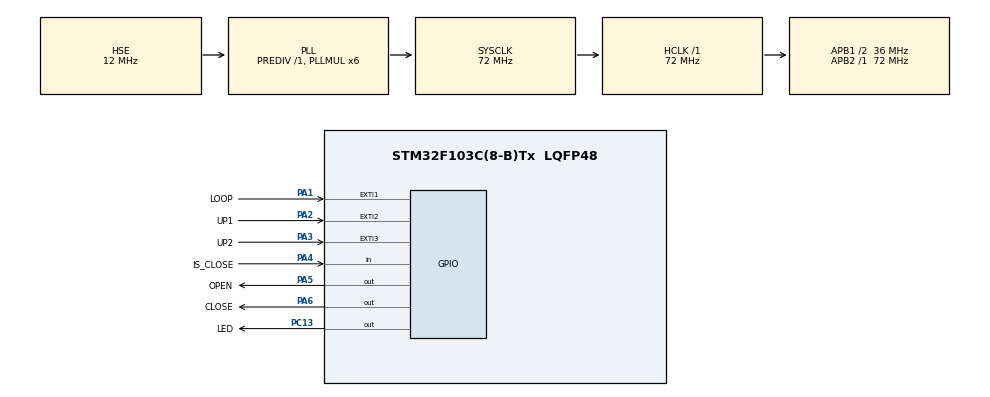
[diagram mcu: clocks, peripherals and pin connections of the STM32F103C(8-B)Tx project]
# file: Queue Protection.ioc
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Mcu.Family=STM32F1
Mcu.Name=STM32F103C(8-B)Tx
Mcu.Package=LQFP48
NVIC.EXTI1_IRQn=true\:1\:0\:true\:false\:true\:true\:true\:true
NVIC.EXTI2_IRQn=true\:1\:0\:true\:false\:true\:true\:true\:true
NVIC.EXTI3_IRQn=true\:1\:0\:true\:false\:true\:true\:true\:true
NVIC.PriorityGroup=NVIC_PRIORITYGROUP_4
PA1.GPIO_Label=LOOP
PA1.GPIO_ModeDefaultEXTI=GPIO_MODE_IT_FALLING
PA1.GPIO_PuPd=GPIO_PULLUP
PA1.Signal=GPXTI1
PA13.Mode=Serial_Wire
PA13.Signal=SYS_JTMS-SWDIO
PA14.Mode=Serial_Wire
PA14.Signal=SYS_JTCK-SWCLK
PA2.GPIO_Label=UP1
PA2.GPIO_ModeDefaultEXTI=GPIO_MODE_IT_FALLING
PA2.GPIO_PuPd=GPIO_PULLUP
PA2.Signal=GPXTI2
PA3.GPIO_Label=UP2
PA3.GPIO_ModeDefaultEXTI=GPIO_MODE_IT_FALLING
PA3.GPIO_PuPd=GPIO_PULLUP
PA3.Signal=GPXTI3
PA4.GPIO_Label=IS_CLOSE
PA4.GPIO_PuPd=GPIO_PULLUP
PA4.Signal=GPIO_Input
PA5.GPIO_Label=OPEN
PA5.GPIO_PuPd=GPIO_PULLUP
PA5.PinState=GPIO_PIN_SET
PA5.Signal=GPIO_Output
PA6.GPIO_Label=CLOSE
PA6.GPIO_PuPd=GPIO_PULLUP
PA6.PinState=GPIO_PIN_SET
PA6.Signal=GPIO_Output
PC13-TAMPER-RTC.GPIO_Label=LED
PC13-TAMPER-RTC.GPIO_PuPd=GPIO_PULLUP
PC13-TAMPER-RTC.PinState=GPIO_PIN_SET
PC13-TAMPER-RTC.Signal=GPIO_Output
PD0-OSC_IN.Mode=HSE-External-Oscillator
PD0-OSC_IN.Signal=RCC_OSC_IN
PD1-OSC_OUT.Mode=HSE-External-Oscillator
PD1-OSC_OUT.Signal=RCC_OSC_OUT
ProjectManager.HeapSize=0x200
ProjectManager.StackSize=0x400
ProjectManager.TargetToolchain=MDK-ARM V5.32
RCC.AHBFreq_Value=72000000
RCC.APB1CLKDivider=RCC_HCLK_DIV2
RCC.APB1Freq_Value=36000000
RCC.APB1TimFreq_Value=72000000
RCC.APB2Freq_Value=72000000
RCC.APB2TimFreq_Value=72000000
RCC.HCLKFreq_Value=72000000
RCC.HSE_VALUE=12000000
RCC.PLLMUL=RCC_PLL_MUL6
RCC.PLLSourceVirtual=RCC_PLLSOURCE_HSE
RCC.SYSCLKFreq_VALUE=72000000
RCC.SYSCLKSource=RCC_SYSCLKSOURCE_PLLCLK
RCC.USBFreq_Value=72000000
board=custom

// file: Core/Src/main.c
/* USER CODE BEGIN Header */
/**
  ******************************************************************************
  * @file           : main.c
  * @brief          : Main program body
  ******************************************************************************
  * @attention
  *
  * Copyright (c) 2025 STMicroelectronics.
  * All rights reserved.
  *
  * This software is licensed under terms that can be found in the LICENSE file
  * in the root directory of this software component.
  * If no LICENSE file comes with this software, it is provided AS-IS.
  *
  ******************************************************************************
  */
/* USER CODE END Header */
#include "main.h"

/* USER CODE BEGIN PD */
#define bool 	char
#define true	1
#define false	0
/* USER CODE END PD */

/* USER CODE BEGIN PV */
volatile bool interrupt_flag = false;
volatile uint16_t interrupt_pin;
/* USER CODE END PV */

void SystemClock_Config(void);
static void MX_GPIO_Init(void);
/* USER CODE BEGIN PFP */
void HAL_GPIO_EXTI_Callback(uint16_t);
/* USER CODE END PFP */

/* USER CODE BEGIN 0 */

void HAL_GPIO_EXTI_Callback(uint16_t GPIO_Pin)
{
	HAL_NVIC_DisableIRQ(EXTI1_IRQn);
	HAL_NVIC_DisableIRQ(EXTI2_IRQn);
	HAL_NVIC_DisableIRQ(EXTI3_IRQn);
	interrupt_flag = true;
	interrupt_pin = GPIO_Pin;
}
/* USER CODE END 0 */

int main(void)
{

  /* MCU Configuration--------------------------------------------------------*/

  /* Reset of all peripherals, Initializes the Flash interface and the Systick. */
  HAL_Init();

  /* Configure the system clock */
  SystemClock_Config();

  /* Initialize all configured peripherals */
  MX_GPIO_Init();

  /* Infinite loop */
  /* USER CODE BEGIN WHILE */
	volatile int32_t vehicle_count = 0;
	while (1){
    /* USER CODE END WHILE */

    /* USER CODE BEGIN 3 */
		__WFI();
		// Handle interrupt
		if (interrupt_flag)
		{
			interrupt_flag = false;
			HAL_Delay(50);
			HAL_NVIC_EnableIRQ(EXTI1_IRQn);
			HAL_NVIC_EnableIRQ(EXTI2_IRQn);
			HAL_NVIC_EnableIRQ(EXTI3_IRQn);
			if (HAL_GPIO_ReadPin(GPIOA, interrupt_pin) == GPIO_PIN_RESET)
			{
				if (interrupt_pin == LOOP_Pin)
				{
					vehicle_count--;
					if (vehicle_count < 0)
					{
						vehicle_count = 0;
						HAL_GPIO_WritePin(LED_GPIO_Port, LED_Pin, GPIO_PIN_SET);
						/* check if number of loop signal greater than number of open signal and barrier is not close then emit 1 signal open barrier.
						This handle for bicycle because bicycle have 2 signal loops
						*/
						if ( HAL_GPIO_ReadPin(IS_CLOSE_GPIO_Port, IS_CLOSE_Pin) != GPIO_PIN_RESET)
						{
							HAL_GPIO_WritePin(OPEN_GPIO_Port, OPEN_Pin, GPIO_PIN_RESET);
							HAL_Delay(300);
							HAL_GPIO_WritePin(OPEN_GPIO_Port, OPEN_Pin, GPIO_PIN_SET);
						}
					}
					else if (vehicle_count == 0)
					{
						HAL_GPIO_WritePin(LED_GPIO_Port, LED_Pin, GPIO_PIN_SET);
						HAL_GPIO_WritePin(CLOSE_GPIO_Port, CLOSE_Pin, GPIO_PIN_RESET);
						HAL_Delay(300);
						HAL_GPIO_WritePin(CLOSE_GPIO_Port, CLOSE_Pin, GPIO_PIN_SET);
					}
				}
				else if (interrupt_pin == UP1_Pin || interrupt_pin == UP2_Pin)
				{
					vehicle_count++;
					HAL_GPIO_WritePin(LED_GPIO_Port, LED_Pin, GPIO_PIN_RESET);
					HAL_GPIO_WritePin(OPEN_GPIO_Port, OPEN_Pin, GPIO_PIN_RESET);
					HAL_Delay(300);
					HAL_GPIO_WritePin(OPEN_GPIO_Port, OPEN_Pin, GPIO_PIN_SET);
				}
			}
		}
	}
  /* USER CODE END 3 */
}

void SystemClock_Config(void)
{
  RCC_OscInitTypeDef RCC_OscInitStruct = {0};
  RCC_ClkInitTypeDef RCC_ClkInitStruct = {0};

  /** Initializes the RCC Oscillators according to the specified parameters
  * in the RCC_OscInitTypeDef structure.
  */
  RCC_OscInitStruct.OscillatorType = RCC_OSCILLATORTYPE_HSE;
  RCC_OscInitStruct.HSEState = RCC_HSE_ON;
  RCC_OscInitStruct.HSEPredivValue = RCC_HSE_PREDIV_DIV1;
  RCC_OscInitStruct.HSIState = RCC_HSI_ON;
  RCC_OscInitStruct.PLL.PLLState = RCC_PLL_ON;
  RCC_OscInitStruct.PLL.PLLSource = RCC_PLLSOURCE_HSE;
  RCC_OscInitStruct.PLL.PLLMUL = RCC_PLL_MUL6;
  if (HAL_RCC_OscConfig(&RCC_OscInitStruct) != HAL_OK)
  {
    Error_Handler();
  }

  /** Initializes the CPU, AHB and APB buses clocks
  */
  RCC_ClkInitStruct.ClockType = RCC_CLOCKTYPE_HCLK|RCC_CLOCKTYPE_SYSCLK
                              |RCC_CLOCKTYPE_PCLK1|RCC_CLOCKTYPE_PCLK2;
  RCC_ClkInitStruct.SYSCLKSource = RCC_SYSCLKSOURCE_PLLCLK;
  RCC_ClkInitStruct.AHBCLKDivider = RCC_SYSCLK_DIV1;
  RCC_ClkInitStruct.APB1CLKDivider = RCC_HCLK_DIV2;
  RCC_ClkInitStruct.APB2CLKDivider = RCC_HCLK_DIV1;

  if (HAL_RCC_ClockConfig(&RCC_ClkInitStruct, FLASH_LATENCY_2) != HAL_OK)
  {
    Error_Handler();
  }
}

static void MX_GPIO_Init(void)
{
  GPIO_InitTypeDef GPIO_InitStruct = {0};

  /* GPIO Ports Clock Enable */
  __HAL_RCC_GPIOC_CLK_ENABLE();
  __HAL_RCC_GPIOD_CLK_ENABLE();
  __HAL_RCC_GPIOA_CLK_ENABLE();

  /*Configure GPIO pin Output Level */
  HAL_GPIO_WritePin(LED_GPIO_Port, LED_Pin, GPIO_PIN_SET);

  /*Configure GPIO pin Output Level */
  HAL_GPIO_WritePin(GPIOA, OPEN_Pin|CLOSE_Pin, GPIO_PIN_SET);

  /*Configure GPIO pin : LED_Pin */
  GPIO_InitStruct.Pin = LED_Pin;
  GPIO_InitStruct.Mode = GPIO_MODE_OUTPUT_PP;
  GPIO_InitStruct.Pull = GPIO_PULLUP;
  GPIO_InitStruct.Speed = GPIO_SPEED_FREQ_LOW;
  HAL_GPIO_Init(LED_GPIO_Port, &GPIO_InitStruct);

  /*Configure GPIO pins : LOOP_Pin UP1_Pin UP2_Pin */
  GPIO_InitStruct.Pin = LOOP_Pin|UP1_Pin|UP2_Pin;
  GPIO_InitStruct.Mode = GPIO_MODE_IT_FALLING;
  GPIO_InitStruct.Pull = GPIO_PULLUP;
  HAL_GPIO_Init(GPIOA, &GPIO_InitStruct);

  /*Configure GPIO pin : IS_CLOSE_Pin */
  GPIO_InitStruct.Pin = IS_CLOSE_Pin;
  GPIO_InitStruct.Mode = GPIO_MODE_INPUT;
  GPIO_InitStruct.Pull = GPIO_PULLUP;
  HAL_GPIO_Init(IS_CLOSE_GPIO_Port, &GPIO_InitStruct);

  /*Configure GPIO pins : OPEN_Pin CLOSE_Pin */
  GPIO_InitStruct.Pin = OPEN_Pin|CLOSE_Pin;
  GPIO_InitStruct.Mode = GPIO_MODE_OUTPUT_PP;
  GPIO_InitStruct.Pull = GPIO_PULLUP;
  GPIO_InitStruct.Speed = GPIO_SPEED_FREQ_LOW;
  HAL_GPIO_Init(GPIOA, &GPIO_InitStruct);

  /* EXTI interrupt init*/
  HAL_NVIC_SetPriority(EXTI1_IRQn, 1, 0);
  HAL_NVIC_EnableIRQ(EXTI1_IRQn);

  HAL_NVIC_SetPriority(EXTI2_IRQn, 1, 0);
  HAL_NVIC_EnableIRQ(EXTI2_IRQn);

  HAL_NVIC_SetPriority(EXTI3_IRQn, 1, 0);
  HAL_NVIC_EnableIRQ(EXTI3_IRQn);

}

void Error_Handler(void)
{
  __disable_irq();
  while (1)
  {
  }
}
